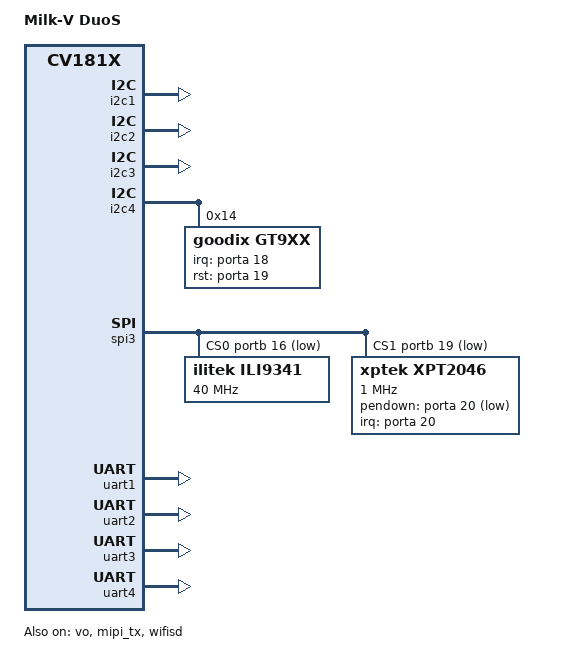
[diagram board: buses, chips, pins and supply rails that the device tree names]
/dts-v1/;
#include "cv181x_base_riscv.dtsi"
#include "cv181x_asic_bga.dtsi"
#include "cv181x_asic_sd.dtsi"
#include "cv181x_default_memmap.dtsi"

/ {
	model = "Milk-V DuoS";
};

&mipi_rx {
	snsr-reset = <&porta 2 GPIO_ACTIVE_LOW>, <&porta 2 GPIO_ACTIVE_LOW>, <&porta 2 GPIO_ACTIVE_LOW>;
};

&i2c0 {
	status = "disabled";
};

&i2c1 {
	status = "okay";
};

&i2c2 {
	status = "okay";
};

&i2c3 {
	status = "okay";
};

&i2c4 {
	status = "okay";

	gt9xx: gt9xx@14 {
		compatible = "goodix,gt9xx";
		reg = <0x14>;
		goodix,irq-gpio = <&porta 18 0>;
		goodix,rst-gpio = <&porta 19 GPIO_ACTIVE_HIGH>;
		status = "okay";
	};
};

&spi3 {
    status = "okay";
    num-cs = <2>;
	cs-gpios = <&portb 16 GPIO_ACTIVE_LOW>, <&portb 19 GPIO_ACTIVE_LOW>;

    /delete-node/ spidev@0;

    ili9341: ili9341@0 {
        compatible = "ilitek,ili9341";
        reg = <0>;
        status = "okay";
        spi-cpol;
        spi-cpha;
        rotate = <180>;
        fps = <60>;
        buswidth = <8>;
        spi-max-frequency = <40000000>;
        debug = <0x0>;
        bgr;
        dc = <&porta 18 GPIO_ACTIVE_HIGH>;
        reset = <&porta 28 GPIO_ACTIVE_LOW>;
        led = <&porta 19 GPIO_ACTIVE_HIGH>;
    };

	xpt2046: xpt2046@1 {
		compatible = "xptek,xpt2046";
		reg = <1>;
		status = "okay";
		spi-max-frequency = <1000000>;
		pendown-gpio = <&porta 20 GPIO_ACTIVE_LOW>;      // IRQ (touch detect)
		interrupt-parent = <&porta>;
		interrupts = <20 IRQ_TYPE_EDGE_FALLING>;        // Use GPIO20 as interrupt
		xptek,keep-vref-on = <1>;
		xptek,x-min = /bits/ 16 <200>;
		xptek,x-max = /bits/ 16 <3900>;
		xptek,y-min = /bits/ 16 <200>;
		xptek,y-max = /bits/ 16 <3900>;
		xptek,x-plate-ohms = /bits/ 16 <60>;
		xptek,pressure-max = /bits/ 16 <255>;
		xptek,swap-xy = <1>;

		wakeup-source;
		xptek,irq-active-low;
	};
};

&dac {
	/delete-property/ mute-gpio-l;
	/delete-property/ mute-gpio-r;
};

/* mipi dsi for u-boot */
&vo {
	compatible = "cvitek,vo";
	reset-gpio = <&porte 2 GPIO_ACTIVE_LOW>;
	pwm-gpio = <&porte 0 GPIO_ACTIVE_HIGH>;
	power-ct-gpio = <&porte 1 GPIO_ACTIVE_HIGH>;
	status = "okay";
};

/* mipi dsi for kernel */
&mipi_tx {
	compatible = "cvitek,mipi_tx";
	reset-gpio = <&porte 2 GPIO_ACTIVE_LOW>;
	pwm-gpio = <&porte 0 GPIO_ACTIVE_HIGH>;
	power-ct-gpio = <&porte 1 GPIO_ACTIVE_HIGH>;
	status = "okay";
};

&wifisd {
	status = "okay";
	cap-sd-highspeed;
	sd-uhs-sdr25;
	sd-uhs-ddr50;
	sd-uhs-sdr104;
	min-frequency = <400000>;
	max-frequency = <187500000>;
};

&wifi_pin {
	status = "okay";
	compatible = "cvitek,wifi-pin";
	poweron-gpio = <&porta 15 GPIO_ACTIVE_HIGH>;
	wakeup-gpio = <&porte 7 GPIO_ACTIVE_HIGH>;
};

&usb {
	vbus-gpio = <&portb 6 0>;
};

&uart1 {
	status = "okay";
};

&uart2 {
	status = "okay";
};

&uart3 {
	status = "okay";
};

&uart4 {
	status = "okay";
};
